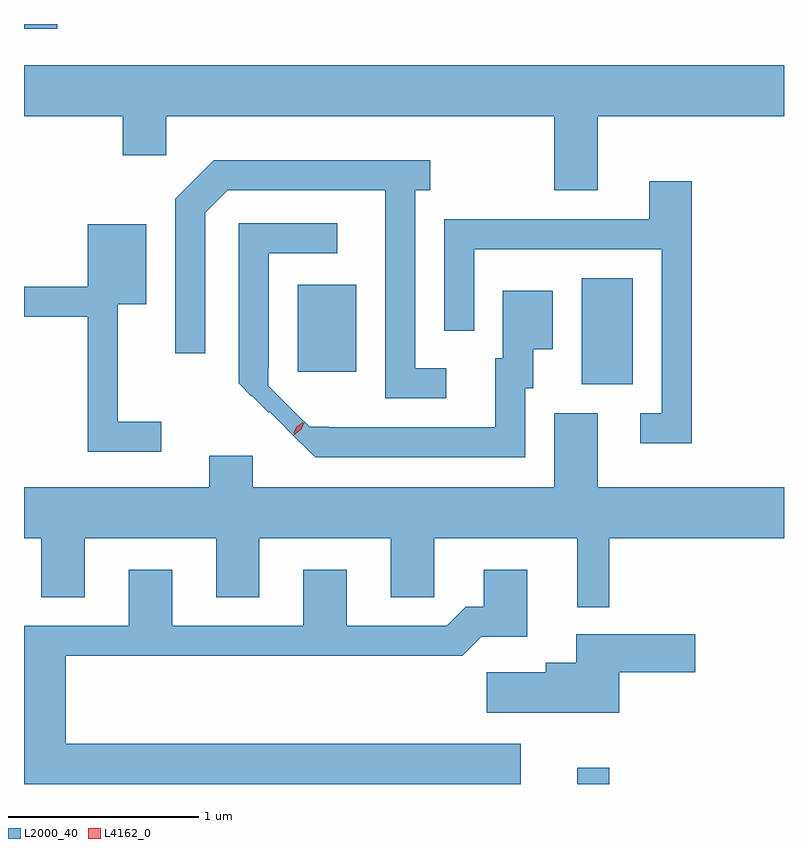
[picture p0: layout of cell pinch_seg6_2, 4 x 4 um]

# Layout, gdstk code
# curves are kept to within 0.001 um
import gdstk
lib = gdstk.Library(unit=1e-6, precision=1e-09)
def R(c, l, rs):  # rectangles x0, y0, x1, y1
    for r in rs: c.add(gdstk.rectangle(r[:2], r[2:], *l))
def P(c, l, *ps):  # polygons
    for p in ps: c.add(gdstk.Polygon(p, *l))
L2000_40 = (2000, 40)
L4162_0 = (4162, 0)

pinch_seg6_2 = lib.new_cell('pinch_seg6_2')
R(pinch_seg6_2, L2000_40, [(822.441,1639.762,822.609,1639.848), (822.466,1641.866,822.734,1642.424), (820.971,1641.931,821.279,1642.389), (819.53,1643.736,819.704,1643.762)])
P(pinch_seg6_2, L2000_40, [(822.549,1643.276),(823.53,1643.276),(823.53,1643.544),(819.53,1643.544),(819.53,1643.276),(820.051,1643.276),(820.051,1643.071),(820.279,1643.071),(820.279,1643.276),(822.321,1643.276),(822.321,1642.886),(822.549,1642.886)],
  [(821.753,1641.949),(821.589,1641.949),(821.589,1642.886),(821.668,1642.886),(821.668,1643.044),(820.529,1643.044),(820.326,1642.842),(820.326,1642.028),(820.484,1642.028),(820.484,1642.769),(820.602,1642.886),(821.431,1642.886),(821.431,1641.791),(821.753,1641.791)],
  [(823.044,1642.934),(822.821,1642.934),(822.821,1642.734),(821.741,1642.734),(821.741,1642.148),(821.899,1642.148),(821.899,1642.576),(822.886,1642.576),(822.886,1641.714),(822.773,1641.714),(822.773,1641.556),(823.044,1641.556)],
  [(822.169,1641.846),(822.209,1641.846),(822.209,1642.051),(822.314,1642.051),(822.314,1642.359),(822.051,1642.359),(822.051,1642.004),(822.011,1642.004),(822.011,1641.639),(821.135,1641.639),(821.135,1641.641),(821.033,1641.641),(820.816,1641.857),(820.816,1641.955),(820.819,1641.955),(820.819,1642.556),(821.178,1642.556),(821.178,1642.714),(820.661,1642.714),(820.661,1641.87),(820.727,1641.804),(820.729,1641.806),(820.818,1641.717),(820.823,1641.721),(821.064,1641.481),(822.169,1641.481)],
  [(820.253,1641.669),(820.024,1641.669),(820.024,1642.286),(820.174,1642.286),(820.174,1642.709),(819.866,1642.709),(819.866,1642.379),(819.53,1642.379),(819.53,1642.221),(819.866,1642.221),(819.866,1641.511),(820.253,1641.511)],
  [(822.609,1641.056),(823.53,1641.056),(823.53,1641.324),(822.549,1641.324),(822.549,1641.714),(822.321,1641.714),(822.321,1641.324),(820.734,1641.324),(820.734,1641.489),(820.506,1641.489),(820.506,1641.324),(819.53,1641.324),(819.53,1641.056),(819.621,1641.056),(819.621,1640.746),(819.849,1640.746),(819.849,1641.056),(820.541,1641.056),(820.541,1640.746),(820.769,1640.746),(820.769,1641.056),(821.461,1641.056),(821.461,1640.746),(821.689,1640.746),(821.689,1641.056),(822.441,1641.056),(822.441,1640.693),(822.609,1640.693)],
  [(822.144,1639.974),(819.749,1639.974),(819.749,1640.436),(821.837,1640.436),(821.937,1640.536),(822.179,1640.536),(822.179,1640.889),(821.951,1640.889),(821.951,1640.694),(821.854,1640.694),(821.754,1640.594),(821.229,1640.594),(821.229,1640.889),(821.001,1640.889),(821.001,1640.594),(820.309,1640.594),(820.309,1640.889),(820.081,1640.889),(820.081,1640.594),(819.53,1640.594),(819.53,1639.762),(822.144,1639.762)],
  [(822.664,1640.351),(823.064,1640.351),(823.064,1640.549),(822.436,1640.549),(822.436,1640.399),(822.276,1640.399),(822.276,1640.349),(821.966,1640.349),(821.966,1640.136),(822.664,1640.136)])
P(pinch_seg6_2, L4162_0, [(820.948,1641.608),(820.948,1641.608),(820.966,1641.643),(820.998,1641.666),(820.999,1641.666),(820.999,1641.665),(820.981,1641.63),(820.948,1641.608)],
  [(820.949,1641.598),(820.949,1641.599),(820.971,1641.639),(821.008,1641.666),(821.008,1641.666),(821.008,1641.665),(820.986,1641.626),(820.95,1641.598)])

lib.write_gds('pinch_seg6_2.gds')
